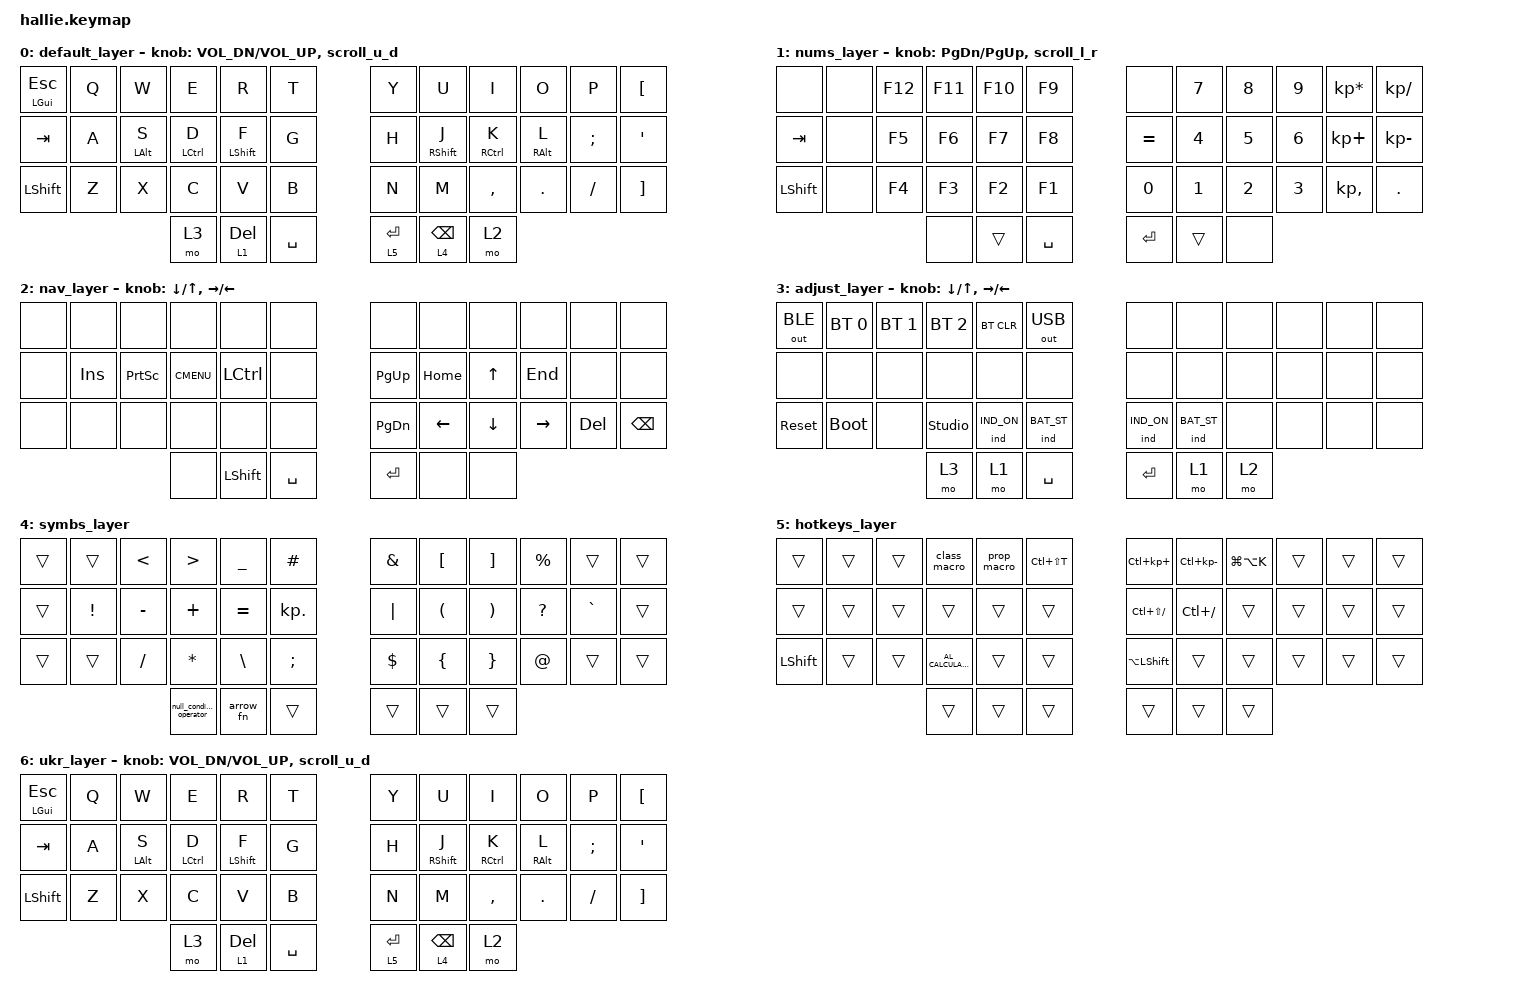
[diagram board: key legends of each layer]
#undef ZMK_BEHAVIORS_KEEP_ALL

#define ZMK_BEHAVIORS_KEEP_IND
#define ZMK_BEHAVIORS_KEEP_BT
#define ZMK_BEHAVIORS_KEEP_GRESC
#define ZMK_BEHAVIORS_KEEP_SYS_RESET
#define ZMK_BEHAVIORS_KEEP_BOOTLOADER
#define ZMK_BEHAVIORS_KEEP_CAPS_WORD
#define ZMK_BEHAVIORS_KEEP_KEY_REPEAT
#define ZMK_BEHAVIORS_KEEP_KT
#define ZMK_BEHAVIORS_KEEP_LT
#define ZMK_BEHAVIORS_KEEP_MT
#define ZMK_BEHAVIORS_KEEP_SK
#define ZMK_BEHAVIORS_KEEP_STICKY_LAYER
#define ZMK_BEHAVIORS_KEEP_TO
#define ZMK_BEHAVIORS_KEEP_TOG
#define ZMK_BEHAVIORS_KEEP_TRANS

#include <dt-bindings/zmk/indicators.h>
#include <behaviors.dtsi>
#include <dt-bindings/zmk/bt.h>
#include <dt-bindings/zmk/keys.h>
#include <dt-bindings/zmk/outputs.h>

#define DEF 0
#define LWR 1
#define RSE 2
#define ADJ 3

&lt { quick_tap_ms = <200>; };

&mt { quick_tap_ms = <200>; };

/ {
    macros {
        arrow_fn: arrow_fn {
            compatible = "zmk,behavior-macro";
            #binding-cells = <0>;
            bindings = <&kp EQUAL &kp GREATER_THAN>;
            label = "ARROW_FN";
        };

        null_conditional_operator: null_conditional_operator {
            compatible = "zmk,behavior-macro";
            #binding-cells = <0>;
            bindings = <&kp QUESTION &kp KP_DOT>;
            label = "NULL_CONDITIONAL_OPERATOR";
        };

        switch_lang_go_ukr_layer: switch_lang_go_layer {
            compatible = "zmk,behavior-macro";
            #binding-cells = <0>;
            bindings = <&kp LC(LS(NUMBER_2))>, <&macro_wait_time 100>, <&tog 6>;

            label = "SWITCH_LANG_GO_LAYER";
        };

        switch_lang_go_def_layer: switch_lang_go_def_layer {
            compatible = "zmk,behavior-macro";
            #binding-cells = <0>;
            bindings = <&kp LC(LS(NUMBER_1))>, <&macro_wait_time 100>, <&tog 6>;

            label = "SWITCH_LANG_GO_DEF_LAYER";
        };

        prop_macro: prop_macro {
            compatible = "zmk,behavior-macro";
            #binding-cells = <0>;
            bindings = <&kp P &kp R &kp O &kp P>;
            label = "PROP_MACRO";
        };

        class_macro: class_macro {
            compatible = "zmk,behavior-macro";
            #binding-cells = <0>;
            bindings = <&kp C &kp L &kp A &kp S &kp S>;
            label = "CLASS_MACRO";
        };
    };

    combos {
        compatible = "zmk,combos";

        go_to_ukr {
            bindings = <&switch_lang_go_ukr_layer>;
            key-positions = <9 8>;
            layers = <0>;
        };

        cancel_ukr_layer {
            bindings = <&switch_lang_go_def_layer>;
            key-positions = <9 8>;
            layers = <6>;
        };
    };

    keymap {
        compatible = "zmk,keymap";

        default_layer {
            bindings = <
&mt LEFT_GUI ESCAPE  &kp Q  &kp W           &kp E        &kp R             &kp T        &kp Y        &kp U              &kp I        &kp O            &kp P      &kp LEFT_BRACKET
&kp TAB              &kp A  &mt LEFT_ALT S  &mt LCTRL D  &mt LEFT_SHIFT F  &kp G        &kp H        &mt RIGHT_SHIFT J  &mt RCTRL K  &mt RIGHT_ALT L  &kp SEMI   &kp SQT
&kp LEFT_SHIFT       &kp Z  &kp X           &kp C        &kp V             &kp B        &kp N        &kp M              &kp COMMA    &kp DOT          &kp SLASH  &kp RIGHT_BRACKET
                                            &mo 3        &lt 1 DELETE      &kp SPACE    &lt 5 ENTER  &lt 4 BACKSPACE    &mo 2
            >;

            sensor-bindings = <&inc_dec_kp C_VOL_DN C_VOL_UP &scroll_u_d>;
        };

        nums_layer {
            bindings = <
&none      &none  &kp F12  &kp F11  &kp F10  &kp F9       &none      &kp N7  &kp N8  &kp N9  &kp KP_MULTIPLY  &kp KP_DIVIDE
&kp TAB    &none  &kp F5   &kp F6   &kp F7   &kp F8       &kp EQUAL  &kp N4  &kp N5  &kp N6  &kp KP_PLUS      &kp KP_MINUS
&kp LSHFT  &none  &kp F4   &kp F3   &kp F2   &kp F1       &kp N0     &kp N1  &kp N2  &kp N3  &kp KP_COMMA     &kp DOT
                           &none    &trans   &kp SPACE    &kp ENTER  &trans  &none
            >;

            sensor-bindings = <&inc_dec_kp PG_DN PG_UP &scroll_l_r>;
        };

        nav_layer {
            bindings = <
&none  &none    &none      &none        &none           &none        &none      &none     &none     &none      &none    &none
&none  &kp INS  &kp PSCRN  &kp K_CMENU  &kp LCTRL       &none        &kp PG_UP  &kp HOME  &kp UP    &kp END    &none    &none
&none  &none    &none      &none        &none           &none        &kp PG_DN  &kp LEFT  &kp DOWN  &kp RIGHT  &kp DEL  &kp BSPC
                           &none        &kp LEFT_SHIFT  &kp SPACE    &kp ENTER  &none     &none
            >;

            sensor-bindings = <&inc_dec_kp DOWN_ARROW UP_ARROW &inc_dec_kp RIGHT_ARROW LEFT_ARROW>;
        };

        adjust_layer {
            bindings = <
&out OUT_BLE  &bt BT_SEL 0  &bt BT_SEL 1  &bt BT_SEL 2    &bt BT_CLR   &out OUT_USB    &none        &none        &none  &none  &none  &none
&none         &none         &none         &none           &none        &none           &none        &none        &none  &none  &none  &none
&sys_reset    &bootloader   &none         &studio_unlock  &ind IND_ON  &ind BAT_ST     &ind IND_ON  &ind BAT_ST  &none  &none  &none  &none
                                          &mo 3           &mo 1        &kp SPACE       &kp ENTER    &mo 1        &mo 2
            >;

            sensor-bindings = <&inc_dec_kp DOWN_ARROW UP_ARROW &inc_dec_kp RIGHT_ARROW LEFT_ARROW>;
        };

        symbs_layer {
            bindings = <
&trans  &trans           &kp LESS_THAN  &kp GREATER_THAN            &kp UNDERSCORE  &kp HASH      &kp AMPERSAND  &kp LEFT_BRACKET      &kp RIGHT_BRACKET      &kp PERCENT   &trans     &trans
&trans  &kp EXCLAMATION  &kp MINUS      &kp PLUS                    &kp EQUAL       &kp KP_DOT    &kp PIPE       &kp LEFT_PARENTHESIS  &kp RIGHT_PARENTHESIS  &kp QUESTION  &kp GRAVE  &trans
&trans  &trans           &kp SLASH      &kp ASTERISK                &kp BACKSLASH   &kp SEMI      &kp DOLLAR     &kp LEFT_BRACE        &kp RIGHT_BRACE        &kp AT_SIGN   &trans     &trans
                                        &null_conditional_operator  &arrow_fn       &trans        &trans         &trans                &trans
            >;
        };

        hotkeys_layer {
            bindings = <
&trans          &trans  &trans  &class_macro         &prop_macro  &kp LC(LS(T))    &kp LC(KP_PLUS)     &kp LC(KP_MINUS)  &kp LG(LA(K))  &trans  &trans  &trans
&trans          &trans  &trans  &trans               &trans       &trans           &kp LC(LS(SLASH))   &kp LC(SLASH)     &trans         &trans  &trans  &trans
&kp LEFT_SHIFT  &trans  &trans  &kp C_AL_CALCULATOR  &trans       &trans           &kp LA(LEFT_SHIFT)  &trans            &trans         &trans  &trans  &trans
                                &trans               &trans       &trans           &trans              &trans            &trans
            >;
        };

        ukr_layer {
            bindings = <
&mt LEFT_GUI ESCAPE  &kp Q  &kp W           &kp E        &kp R             &kp T        &kp Y        &kp U              &kp I        &kp O            &kp P      &kp LEFT_BRACKET
&kp TAB              &kp A  &mt LEFT_ALT S  &mt LCTRL D  &mt LEFT_SHIFT F  &kp G        &kp H        &mt RIGHT_SHIFT J  &mt RCTRL K  &mt RIGHT_ALT L  &kp SEMI   &kp SQT
&kp LEFT_SHIFT       &kp Z  &kp X           &kp C        &kp V             &kp B        &kp N        &kp M              &kp COMMA    &kp DOT          &kp SLASH  &kp RIGHT_BRACKET
                                            &mo 3        &lt 1 DELETE      &kp SPACE    &lt 5 ENTER  &lt 4 BACKSPACE    &mo 2
            >;

            sensor-bindings = <&inc_dec_kp C_VOL_DN C_VOL_UP>, <&scroll_u_d>;
        };

        extra3 { status = "reserved"; };

        extra4 { status = "reserved"; };
    };

    conditional_layers { compatible = "zmk,conditional-layers"; };
};
